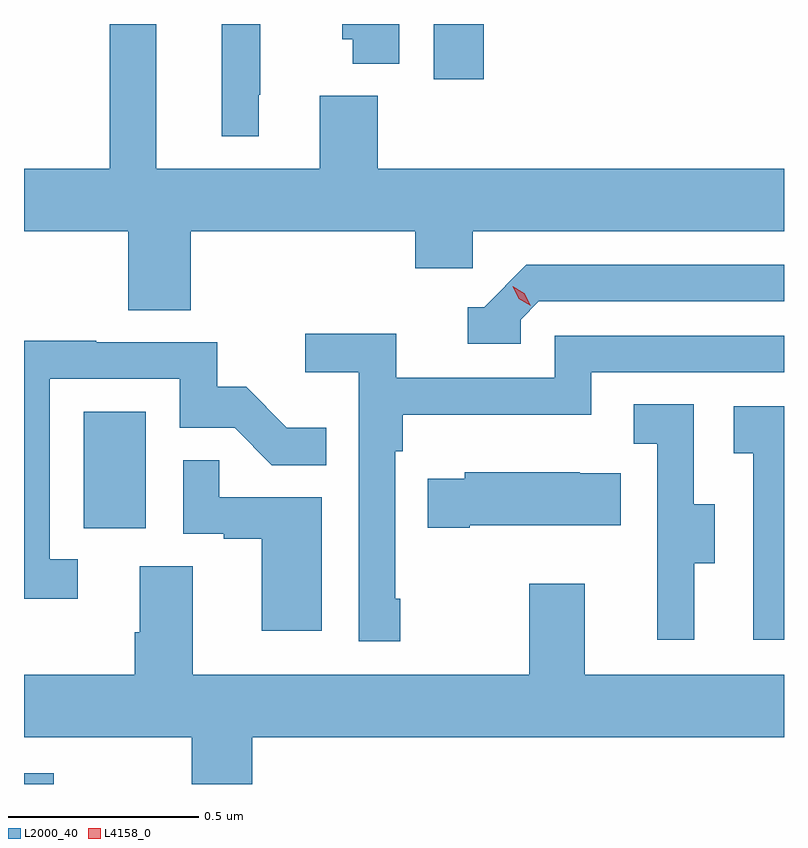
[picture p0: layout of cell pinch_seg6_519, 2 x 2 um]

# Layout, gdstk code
import gdstk
lib = gdstk.Library(unit=1e-6, precision=1e-09)
def R(c, l, rs):  # rectangles x0, y0, x1, y1
    for r in rs: c.add(gdstk.rectangle(r[:2], r[2:], *l))
def P(c, l, *ps):  # polygons
    for p in ps: c.add(gdstk.Polygon(p, *l))
L2000_40 = (2000, 40)
L4158_0 = (4158, 0)

pinch_seg6_519 = lib.new_cell('pinch_seg6_519')
R(pinch_seg6_519, L2000_40, [(865.129,933.893,865.207,933.921), (865.286,934.566,865.45,934.873), (866.207,935.748,866.339,935.893)])
P(pinch_seg6_519, L2000_40, [(865.568,935.348),(866.159,935.348),(866.159,935.25),(866.31,935.25),(866.31,935.348),(867.129,935.348),(867.129,935.512),(866.06,935.512),(866.06,935.704),(865.907,935.704),(865.907,935.512),(865.477,935.512),(865.477,935.893),(865.355,935.893),(865.355,935.512),(865.129,935.512),(865.129,935.348),(865.403,935.348),(865.403,935.14),(865.568,935.14)],
  [(866.116,935.893),(865.967,935.893),(865.967,935.853),(865.994,935.853),(865.994,935.789),(866.116,935.789)],
  [(865.747,935.707),(865.751,935.707),(865.751,935.893),(865.65,935.893),(865.65,935.858),(865.649,935.858),(865.649,935.597),(865.747,935.597)],
  [(866.436,935.115),(866.484,935.163),(867.129,935.163),(867.129,935.259),(866.451,935.259),(866.34,935.148),(866.297,935.148),(866.297,935.052),(866.436,935.052)],
  [(866.119,934.381),(866.106,934.381),(866.106,934.769),(866.126,934.769),(866.126,934.865),(866.622,934.865),(866.622,934.977),(867.129,934.977),(867.129,935.073),(866.526,935.073),(866.526,934.962),(866.108,934.962),(866.108,935.078),(865.869,935.078),(865.869,934.976),(866.01,934.976),(866.01,934.269),(866.119,934.269)],
  [(865.27,934.485),(865.197,934.485),(865.197,934.959),(865.539,934.959),(865.539,934.83),(865.683,934.83),(865.781,934.732),(865.925,934.732),(865.925,934.831),(865.821,934.831),(865.714,934.938),(865.638,934.938),(865.638,935.055),(865.319,935.055),(865.319,935.06),(865.129,935.06),(865.129,934.38),(865.27,934.38)],
  [(866.893,934.474),(866.947,934.474),(866.947,934.629),(866.892,934.629),(866.892,934.892),(866.733,934.892),(866.733,934.789),(866.796,934.789),(866.796,934.485),(866.795,934.485),(866.795,934.272),(866.893,934.272)],
  [(867.129,934.887),(866.997,934.887),(866.997,934.763),(867.048,934.763),(867.048,934.272),(867.129,934.272)],
  [(865.912,934.647),(865.643,934.647),(865.643,934.745),(865.548,934.745),(865.548,934.551),(865.655,934.551),(865.655,934.539),(865.754,934.539),(865.754,934.296),(865.912,934.296)],
  [(866.302,934.574),(866.699,934.574),(866.699,934.711),(866.591,934.711),(866.591,934.714),(866.289,934.714),(866.289,934.696),(866.191,934.696),(866.191,934.567),(866.302,934.567)],
  [(865.73,934.016),(867.129,934.016),(867.129,934.18),(866.605,934.18),(866.605,934.42),(866.458,934.42),(866.458,934.18),(865.573,934.18),(865.573,934.466),(865.433,934.466),(865.433,934.292),(865.421,934.292),(865.421,934.18),(865.129,934.18),(865.129,934.016),(865.57,934.016),(865.57,933.893),(865.73,933.893)])
P(pinch_seg6_519, L4158_0, [(866.463,935.151),(866.431,935.17),(866.415,935.203),(866.415,935.203),(866.415,935.203),(866.446,935.184),(866.463,935.151),(866.463,935.151)])

lib.write_gds('pinch_seg6_519.gds')
